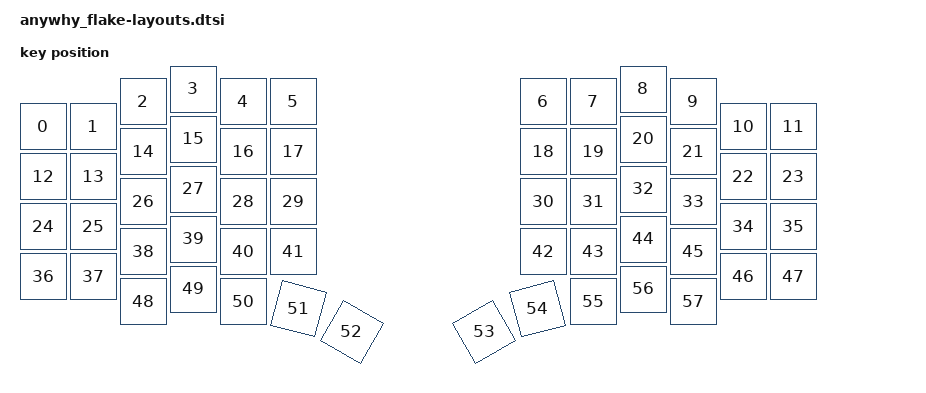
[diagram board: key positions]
/*
 * Copyright (c) 2024 The ZMK Contributors
 *
 * SPDX-License-Identifier: MIT
 */

#include <physical_layouts.dtsi>

/ {
    anywhy_flake_layout: anywhy_flake_layout {
        compatible = "zmk,physical-layout";
        display-name = "Anywhy Flake";
        transform = <&large_transform>;

         keys  //                     w   h    x    y     rot    rx    ry
            = <&key_physical_attrs 100 100    0   75       0     0     0>
            , <&key_physical_attrs 100 100  100   75       0     0     0>
            , <&key_physical_attrs 100 100  200   25       0     0     0>
            , <&key_physical_attrs 100 100  300    0       0     0     0>
            , <&key_physical_attrs 100 100  400   25       0     0     0>
            , <&key_physical_attrs 100 100  500   25       0     0     0>
            , <&key_physical_attrs 100 100 1000   25       0     0     0>
            , <&key_physical_attrs 100 100 1100   25       0     0     0>
            , <&key_physical_attrs 100 100 1200    0       0     0     0>
            , <&key_physical_attrs 100 100 1300   25       0     0     0>
            , <&key_physical_attrs 100 100 1400   75       0     0     0>
            , <&key_physical_attrs 100 100 1500   75       0     0     0>
            , <&key_physical_attrs 100 100    0  175       0     0     0>
            , <&key_physical_attrs 100 100  100  175       0     0     0>
            , <&key_physical_attrs 100 100  200  125       0     0     0>
            , <&key_physical_attrs 100 100  300  100       0     0     0>
            , <&key_physical_attrs 100 100  400  125       0     0     0>
            , <&key_physical_attrs 100 100  500  125       0     0     0>
            , <&key_physical_attrs 100 100 1000  125       0     0     0>
            , <&key_physical_attrs 100 100 1100  125       0     0     0>
            , <&key_physical_attrs 100 100 1200  100       0     0     0>
            , <&key_physical_attrs 100 100 1300  125       0     0     0>
            , <&key_physical_attrs 100 100 1400  175       0     0     0>
            , <&key_physical_attrs 100 100 1500  175       0     0     0>
            , <&key_physical_attrs 100 100    0  275       0     0     0>
            , <&key_physical_attrs 100 100  100  275       0     0     0>
            , <&key_physical_attrs 100 100  200  225       0     0     0>
            , <&key_physical_attrs 100 100  300  200       0     0     0>
            , <&key_physical_attrs 100 100  400  225       0     0     0>
            , <&key_physical_attrs 100 100  500  225       0     0     0>
            , <&key_physical_attrs 100 100 1000  225       0     0     0>
            , <&key_physical_attrs 100 100 1100  225       0     0     0>
            , <&key_physical_attrs 100 100 1200  200       0     0     0>
            , <&key_physical_attrs 100 100 1300  225       0     0     0>
            , <&key_physical_attrs 100 100 1400  275       0     0     0>
            , <&key_physical_attrs 100 100 1500  275       0     0     0>
            , <&key_physical_attrs 100 100    0  375       0     0     0>
            , <&key_physical_attrs 100 100  100  375       0     0     0>
            , <&key_physical_attrs 100 100  200  325       0     0     0>
            , <&key_physical_attrs 100 100  300  300       0     0     0>
            , <&key_physical_attrs 100 100  400  325       0     0     0>
            , <&key_physical_attrs 100 100  500  325       0     0     0>
            , <&key_physical_attrs 100 100 1000  325       0     0     0>
            , <&key_physical_attrs 100 100 1100  325       0     0     0>
            , <&key_physical_attrs 100 100 1200  300       0     0     0>
            , <&key_physical_attrs 100 100 1300  325       0     0     0>
            , <&key_physical_attrs 100 100 1400  375       0     0     0>
            , <&key_physical_attrs 100 100 1500  375       0     0     0>
            , <&key_physical_attrs 100 100  200  425       0     0     0>
            , <&key_physical_attrs 100 100  300  400       0     0     0>
            , <&key_physical_attrs 100 100  400  425       0     0     0>
            , <&key_physical_attrs 100 100  500  425    1500   500   525>
            , <&key_physical_attrs 100 100  600  470    3000   630   560>
            , <&key_physical_attrs 100 100  900  470 (-3000)   970   560>
            , <&key_physical_attrs 100 100 1000  425 (-1500)  1100   525>
            , <&key_physical_attrs 100 100 1100  425       0     0     0>
            , <&key_physical_attrs 100 100 1200  400       0     0     0>
            , <&key_physical_attrs 100 100 1300  425       0     0     0>
            ;
    };
};
